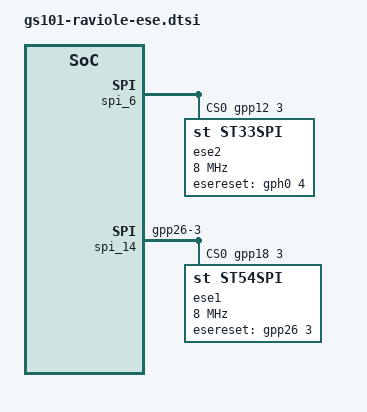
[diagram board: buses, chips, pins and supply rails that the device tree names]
// SPDX-License-Identifier: GPL-2.0
/*
 * Google GS101 Board device tree source
 *
 * Copyright (c) 2020 Google, LLC
 *		https://www.google.com
 *
*/

#include <dt-bindings/pinctrl/samsung.h>
#include <dt-bindings/gpio/gpio.h>

&pinctrl_5 {
	ese1_spi_rst: ese1-spi-rst {
		samsung,pins ="gpp26-3";
		samsung,pin-con-pdn = <EXYNOS_PIN_PDN_PREV>;
		samsung,pin-pud-pdn = <EXYNOS_PIN_PULL_NONE>;
	};
};

&pinctrl_6 {
	ese2_spi_rst: ese2-spi-rst {
		samsung,pins ="gph0-4";
		samsung,pin-con-pdn = <EXYNOS_PIN_PDN_PREV>;
		samsung,pin-pud-pdn = <EXYNOS_PIN_PULL_NONE>;
	};
};


&spi14_bus {
	samsung,pin-con-pdn = <EXYNOS_PIN_PDN_PREV>;
	samsung,pin-pud-pdn = <EXYNOS_PIN_PULL_NONE>;
};

&spi14_cs {
	samsung,pin-con-pdn = <EXYNOS_PIN_PDN_PREV>;
	samsung,pin-pud-pdn = <EXYNOS_PIN_PULL_NONE>;
};

&spi6_bus {
	samsung,pin-con-pdn = <EXYNOS_PIN_PDN_PREV>;
	samsung,pin-pud-pdn = <EXYNOS_PIN_PULL_NONE>;
};

&spi6_cs {
	samsung,pin-con-pdn = <EXYNOS_PIN_PDN_PREV>;
	samsung,pin-pud-pdn = <EXYNOS_PIN_PULL_NONE>;
};

&pinctrl_4 {
	spi6_bus_off: spi6-bus-off {
		samsung,pins = "gpp12-0", "gpp12-1", "gpp12-2";
		samsung,pin-function = <EXYNOS_PIN_FUNC_OUTPUT>;
		samsung,pin-pud = <EXYNOS_PIN_PULL_DOWN>;
		samsung,pin-drv = <GS101_PIN_DRV_2_5_MA>;
		samsung,pin-con-pdn = <EXYNOS_PIN_PDN_PREV>;
		samsung,pin-pud-pdn = <EXYNOS_PIN_PULL_DOWN>;
		samsung,pin-val = <0>;
	};
	spi6_cs_on: spi6-cs-on {
		samsung,pins = "gpp12-3";
		samsung,pin-function = <EXYNOS_PIN_FUNC_OUTPUT>;
		samsung,pin-pud = <EXYNOS_PIN_PULL_NONE>;
		samsung,pin-drv = <GS101_PIN_DRV_2_5_MA>;
		samsung,pin-con-pdn = <EXYNOS_PIN_PDN_PREV>;
		samsung,pin-pud-pdn = <EXYNOS_PIN_PULL_NONE>;
		samsung,pin-val = <1>;
	};
	spi6_cs_off: spi6-cs-off {
		samsung,pins = "gpp12-3";
		samsung,pin-function = <EXYNOS_PIN_FUNC_OUTPUT>;
		samsung,pin-pud = <EXYNOS_PIN_PULL_DOWN>;
		samsung,pin-drv = <GS101_PIN_DRV_2_5_MA>;
		samsung,pin-con-pdn = <EXYNOS_PIN_PDN_PREV>;
		samsung,pin-pud-pdn = <EXYNOS_PIN_PULL_DOWN>;
		samsung,pin-val = <0>;
	};
};

&spi_6 {
	/* XAPC_USI6 */
	#address-cells = <1>;
	#size-cells = <0>;
	status = "okay";
	cs-gpios = <&gpp12 3 GPIO_ACTIVE_HIGH>;

	ese2: ese@0 {
		compatible = "st,st33spi";
		reg = <0>;
		spi-max-frequency = <8000000>;
		esereset-gpio = <&gph0 4 GPIO_ACTIVE_HIGH>;
		power_mode = "ST33";
		pinctrl-names = "default","on","off";
		pinctrl-0 = <&spi6_bus_off &spi6_cs_off &ese2_spi_rst>;
		pinctrl-1 = <&spi6_bus &spi6_cs_on &ese2_spi_rst>;
		pinctrl-2 = <&spi6_bus_off &spi6_cs_off &ese2_spi_rst>;

		controller-data {
			cs-gpio = <&gpp12 3 GPIO_ACTIVE_HIGH>;
			cs-clock-delay = <10>;
			cs-init-state = <0>;
			samsung,spi-chip-select-mode = <0>;
		};
	};
};

&spi_14 {
	/* XAPC_USI14 */
	#address-cells = <1>;
	#size-cells = <0>;
	status = "okay";
	pinctrl-names = "default";
	pinctrl-0 = <&spi14_bus &spi14_cs &ese1_spi_rst>;
	cs-gpios = <&gpp18 3 GPIO_ACTIVE_HIGH>;

	ese1: ese@0 {
		compatible = "st,st54spi";
		reg = <0>;
		spi-max-frequency = <8000000>;
		esereset-gpio = <&gpp26 3 GPIO_ACTIVE_HIGH>;
		power_mode = "ST54J";

		controller-data {
			cs-gpio = <&gpp18 3 GPIO_ACTIVE_HIGH>;
			cs-clock-delay = <10>;
			samsung,spi-chip-select-mode = <0>;
		};
	};
};

